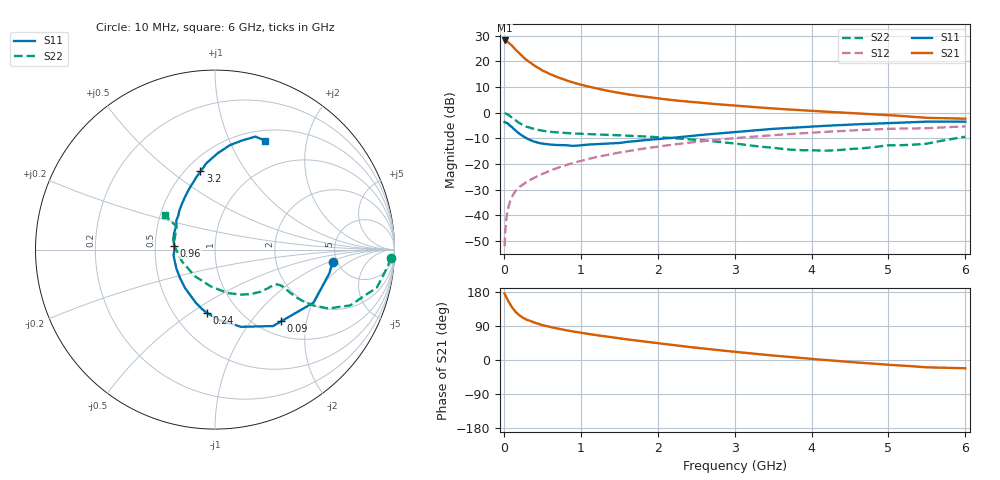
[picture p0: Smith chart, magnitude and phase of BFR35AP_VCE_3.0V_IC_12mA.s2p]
! Infineon Technologies  Discrete & RF Semiconductors
! BFR35AP
! VCE =  3.0 V,  IC =  12 mA
! Common Emitter S-Parameters:  Nov 2015
# GHz  S  MA  R  50
!  f  S11  S21  S12  S22
! GHz  MAG  ANG  MAG  ANG  MAG  ANG  MAG  ANG
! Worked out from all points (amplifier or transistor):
!   210 points, 10 MHz to 6 GHz, reference 50 ohm
!   highest |S21| = 28.1 dB at 10 MHz (marker M1)
!   |S21| within 3 dB of that: start of sweep to 134.6 MHz
!   unconditionally stable (mu >= 1): 497.1 MHz to 3.374 GHz
!   at 185 MHz: K = 0.61, MSG = 26.5 dB, |S12| = -29.5 dB
!   at 1.52 GHz: K = 1.11, MAG = 9.5 dB, |S12| = -15.5 dB
!   at 6 GHz: K = 0.95, MSG = 1.5 dB, |S12| = -5.3 dB
!   S11 on the Smith chart (normalised r, x): 10 MHz: 4.59, -1.10; 90 MHz: 1.26, -1.43; 240 MHz: 0.72, -0.58; 960 MHz: 0.63, +0.03; 3.2 GHz: 0.59, +0.64; 6 GHz: 0.62, +1.36
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0.01  0.6589 -5.9  25.55 175.3  0.0025 86.5  0.9791 -2.6
0.02  0.6512 -11.5  25.1 170.6  0.0053 87.7  0.9676 -5.5
0.05  0.624 -28.2  24.13 158.0  0.0127 76.9  0.9264 -13.2
0.09  0.5438 -47.3  21.22 144.4  0.0204 69.5  0.8347 -20.4
0.1  0.5348 -52.8  20.71 140.5  0.0223 68.5  0.8141 -22.5
0.15  0.4538 -71.4  17.08 127.2  0.0294 64.3  0.7104 -27.5
0.2  0.392 -87.0  14.37 118.1  0.0354 63.5  0.6294 -29.6
0.24  0.3557 -97.1  12.58 112.7  0.039 62.8  0.5815 -30.2
0.3  0.3143 -110.0  10.48 106.0  0.0449 63.2  0.5288 -30.4
0.4  0.2716 -128.0  8.212 98.4  0.0543 63.9  0.4765 -29.7
0.5  0.2498 -141.9  6.673 92.0  0.0639 65.0  0.4435 -28.9
0.6  0.2402 -153.1  5.651 87.2  0.074 65.7  0.4248 -28.5
0.7  0.2341 -163.4  4.903 82.8  0.084 66.0  0.4116 -28.7
0.96  0.2282 174.5  3.651 73.3  0.1108 65.5  0.3901 -30.0
1.02  0.2324 170.5  3.452 71.3  0.1168 65.3  0.3863 -30.6
1.4  0.253 150.2  2.577 60.0  0.156 62.8  0.3674 -35.5
2.02  0.3081 127.8  1.882 43.8  0.2202 56.8  0.3311 -46.7
3.1  0.4307 102.3  1.335 19.7  0.3277 43.5  0.2402 -77.6
3.2  0.4434 100.5  1.301 17.9  0.3367 42.1  0.2299 -81.7
4.1  0.5465 87.0  1.064 1.2  0.4163 30.5  0.1828 -134.2
5.1  0.6331 75.0  0.877 -13.8  0.4865 16.5  0.2318 168.1
6  0.6679 65.4  0.764 -21.8  0.542 6.3  0.3396 145.9
